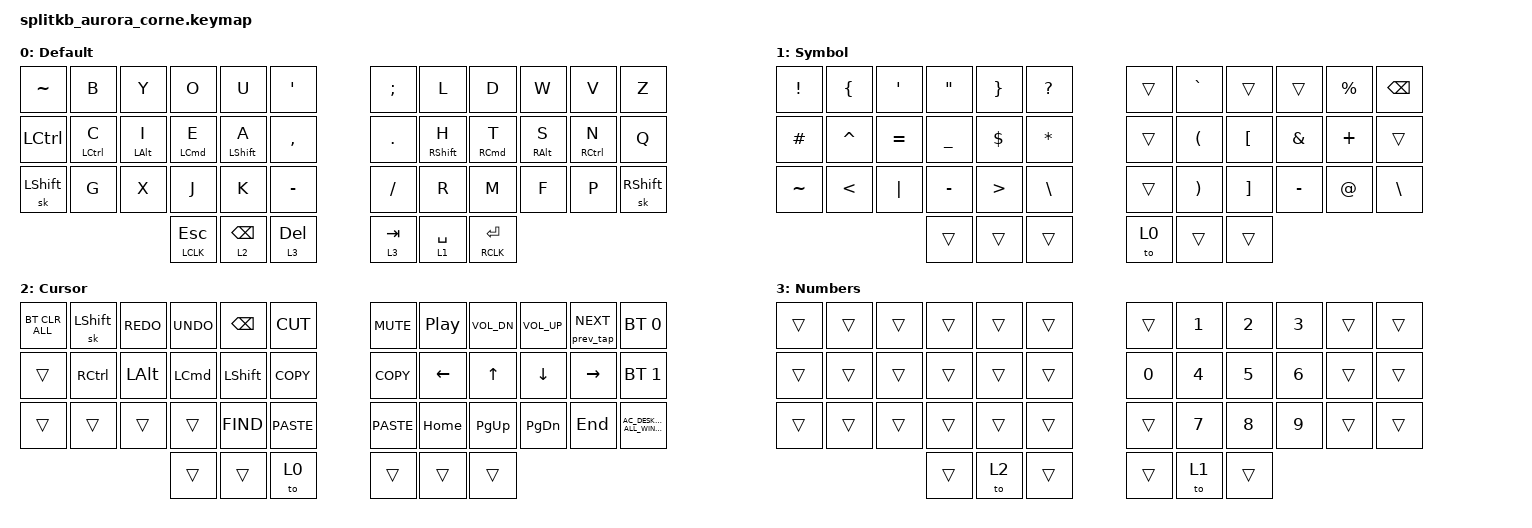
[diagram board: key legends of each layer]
/*
 * Copyright (c) 2020 The ZMK Contributors
 *
 * SPDX-License-Identifier: MIT
 */

#include <behaviors.dtsi>
#include <dt-bindings/zmk/bt.h>
#include <dt-bindings/zmk/keys.h>
#include <dt-bindings/zmk/mouse.h>

// #include "mouse.dtsi"
/* Homerow mods */

#define KEYS_L 0 1 2 3 4 5 12 13 14 15 16 17 24 25 26 27 28 29    // left hand
#define KEYS_R 6 7 8 9 10 11 18 19 20 21 22 23 30 31 32 33 34 35  // right hand
#define THUMBS 36 37 38 39 40 41                                  // thumbs

/ {
    behaviors {
        hml: home_row_mod_left {
            compatible = "zmk,behavior-hold-tap";
            #binding-cells = <2>;
            flavor = "balanced";
            tapping-term-ms = <250>;
            quick-tap-ms = <150>;
            require-prior-idle-ms = <150>;
            bindings = <&kp>, <&kp>;

            hold-trigger-key-positions = <KEYS_R THUMBS>;
            hold-trigger-on-release;
        };

        hmr: home_row_mod_right {
            compatible = "zmk,behavior-hold-tap";
            #binding-cells = <2>;
            flavor = "balanced";
            tapping-term-ms = <250>;
            quick-tap-ms = <150>;
            require-prior-idle-ms = <150>;
            bindings = <&kp>, <&kp>;

            hold-trigger-key-positions = <KEYS_L THUMBS>;
            hold-trigger-on-release;
        };

        hmr_slow: home_row_mod_right_slow {
            compatible = "zmk,behavior-hold-tap";
            #binding-cells = <2>;
            flavor = "balanced";
            tapping-term-ms = <300>;
            quick-tap-ms = <150>;
            require-prior-idle-ms = <150>;
            bindings = <&kp>, <&kp>;

            hold-trigger-key-positions = <KEYS_L THUMBS>;
            hold-trigger-on-release;
        };

        prev_tap: prev_tap {
            compatible = "zmk,behavior-macro";
            #binding-cells = <0>;
            bindings = <&macro_tap &kp C_PREV>;
        };

        media_ht: media_hold_tap {
            compatible = "zmk,behavior-hold-tap";
            #binding-cells = <2>;
            flavor = "tap-preferred";
            tapping-term-ms = <200>;
            bindings = <&prev_tap>, <&kp>;
        };

        mouse_ht: mouse_hold_tap {
            compatible = "zmk,behavior-hold-tap";
            #binding-cells = <2>;
            flavor = "balanced";
            tapping-term-ms = <200>;
            bindings = <&mkp>, <&kp>;
        };
    };

    keymap {
        compatible = "zmk,keymap";

        default_layer {

            display-name = "Default";
            bindings = <
&kp TILDE       &kp B                &kp Y            &kp O                &kp U              &kp SINGLE_QUOTE    &kp SEMI    &kp L               &kp D        &kp W             &kp V         &kp Z
&kp LCTRL       &hml LEFT_CONTROL C  &hml LEFT_ALT I  &hml LEFT_COMMAND E  &hml LEFT_SHIFT A  &kp COMMA           &kp PERIOD  &hmr RIGHT_SHIFT H  &hmr RCMD T  &hmr_slow RIGHT_ALT S  &hmr_slow RCTRL N  &kp Q
&sk LEFT_SHIFT  &kp G                &kp X            &kp J                &kp K              &kp MINUS           &kp SLASH   &kp R               &kp M        &kp F             &kp P         &sk RIGHT_SHIFT
                                                      &mouse_ht LCLK ESCAPE  &lt 2 BACKSPACE    &lt 3 DELETE        &lt 3 TAB   &lt 1 SPACE         &mouse_ht RCLK RET
            >;
        };

        symbol {

            display-name = "Symbol";
            bindings = <
&kp EXCLAMATION  &kp LEFT_BRACE  &kp SQT    &kp DOUBLE_QUOTES  &kp RIGHT_BRACE   &kp QUESTION     &trans  &kp GRAVE              &trans             &trans         &kp PERCENT  &kp BSPC
&kp HASH         &kp CARET       &kp EQUAL  &kp UNDERSCORE     &kp DOLLAR        &kp ASTERISK     &trans  &kp LEFT_PARENTHESIS   &kp LEFT_BRACKET   &kp AMPERSAND  &kp PLUS     &trans
&kp TILDE        &kp LESS_THAN   &kp PIPE   &kp MINUS          &kp GREATER_THAN  &kp BACKSLASH    &trans  &kp RIGHT_PARENTHESIS  &kp RIGHT_BRACKET  &kp MINUS      &kp AT       &kp BACKSLASH
                                            &trans             &trans            &trans           &to 0   &trans                 &trans
            >;
        };

        cursor {

            display-name = "Cursor";
            bindings = <
&bt BT_CLR_ALL  &sk LEFT_SHIFT  &kp K_REDO    &kp K_UNDO  &kp BACKSPACE   &kp K_CUT      &kp C_MUTE   &kp C_PLAY_PAUSE  &kp C_VOL_DN  &kp C_VOL_UP    &media_ht 0 C_NEXT  &bt BT_SEL 0
&trans          &kp RCTRL       &kp LEFT_ALT  &kp LCMD    &kp LEFT_SHIFT  &kp K_COPY     &kp K_COPY   &kp LEFT_ARROW  &kp UP_ARROW  &kp DOWN_ARROW  &kp RIGHT        &bt BT_SEL 1
&trans          &trans          &trans        &trans      &kp K_FIND      &kp K_PASTE    &kp K_PASTE  &kp HOME        &kp PAGE_UP   &kp PAGE_DOWN   &kp END          &kp C_AC_DESKTOP_SHOW_ALL_WINDOWS
                                              &trans      &trans          &to 0          &trans       &trans          &trans
            >;
        };

        lower {

            display-name = "Numbers";
            bindings = <
&trans  &trans  &trans  &trans  &trans  &trans    &trans  &kp NUMBER_1  &kp NUMBER_2  &kp NUMBER_3  &trans  &trans
&trans  &trans  &trans  &trans  &trans  &trans    &kp N0  &kp NUMBER_4  &kp N5        &kp NUMBER_6  &trans  &trans
&trans  &trans  &trans  &trans  &trans  &trans    &trans  &kp N7        &kp N8        &kp N9        &trans  &trans
                        &trans  &to 2   &trans    &trans  &to 1         &trans
            >;
        };

        /*        raise_layer {
*            bindings = <
*&trans  &kp 1   &kp 2   &kp 3   &kp 4   &kp 5   U_WH_L  U_WH_D    U_MS_U     U_WH_U    U_WH_R  &trans
*&trans  &kp 6   &kp 7   &kp 8   &kp 9   &kp 0   &trans  U_MS_L    U_MS_D     U_MS_R    &trans  &trans
*&trans  &trans  &trans  &trans  &trans  &trans  &trans  &mkp MB4  &mkp MCLK  &mkp MB5  &trans  &trans
*                        &trans  &trans  &trans  &trans  &trans    &to 0
*            >;
*        };
*/
    };
};
